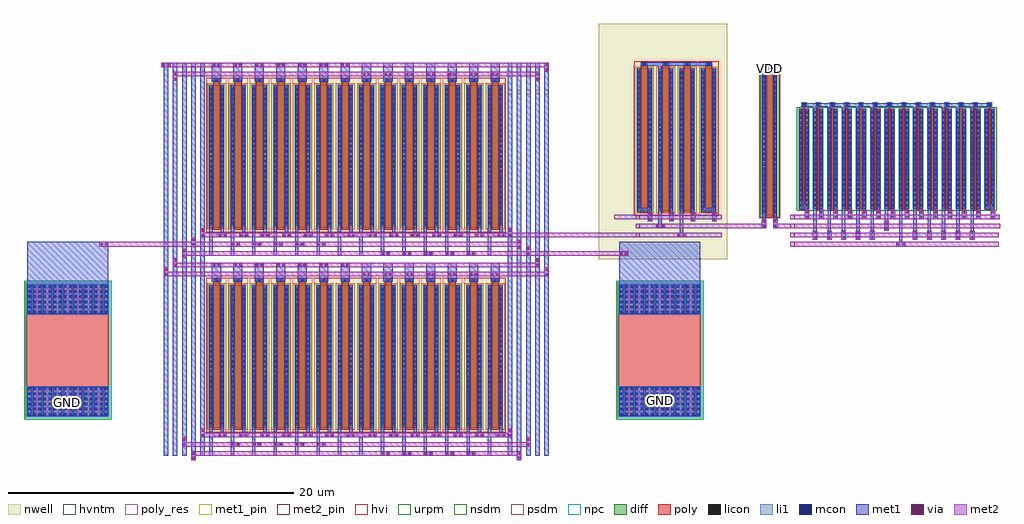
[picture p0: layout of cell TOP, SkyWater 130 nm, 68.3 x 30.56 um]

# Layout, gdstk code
from math import pi, radians
import gdstk
lib = gdstk.Library(unit=1e-6, precision=1e-09)
def R(c, l, rs):  # rectangles x0, y0, x1, y1
    for r in rs: c.add(gdstk.rectangle(r[:2], r[2:], *l))
def A(c, l, x, y, w, h, nx, ny, dx, dy):  # array of equal rectangles
    R(c, l, [(x+i*dx, y+j*dy, x+i*dx+w, y+j*dy+h) for i in range(nx) for j in range(ny)])
nwell = (64, 20)
diff = (65, 20)
poly_res = (66, 13)
poly = (66, 20)
licon = (66, 44)
li1 = (67, 20)
mcon = (67, 44)
met1_pin = (68, 16)
met1 = (68, 20)
via = (68, 44)
met2_pin = (69, 16)
met2 = (69, 20)
hvi = (75, 20)
urpm = (79, 20)
nsdm = (93, 44)
psdm = (94, 20)
npc = (95, 20)
hvntm = (125, 20)

contact = lib.new_cell('contact')
R(contact, met1, [(-0.32,-0.16,0.32,0.16)])
R(contact, via, [(-0.235,-0.075,-0.085,0.075), (0.085,-0.075,0.235,0.075)])
R(contact, met2, [(-0.32,-0.16,0.32,0.16)])

sky130_fd_pr__nfet_01v8_ = lib.new_cell('sky130_fd_pr__nfet_01v8_4TJS7W')
R(sky130_fd_pr__nfet_01v8_, diff, [(-0.365,-3.655,0.365,3.345)])
R(sky130_fd_pr__nfet_01v8_, poly, [(-0.075,-3.785,0.075,3.455), (-0.165,3.455,0.165,3.785)])
A(sky130_fd_pr__nfet_01v8_, licon, -0.305, -3.47, 0.17, 0.17, 1, 20, 0, 0.34)
A(sky130_fd_pr__nfet_01v8_, licon, 0.135, -3.47, 0.17, 0.17, 1, 20, 0, 0.34)
R(sky130_fd_pr__nfet_01v8_, licon, [(-0.085,3.535,0.085,3.705)])
R(sky130_fd_pr__nfet_01v8_, li1, [(-0.305,-3.675,-0.135,3.365), (0.135,-3.675,0.305,3.365), (-0.165,3.535,0.165,3.705)])
A(sky130_fd_pr__nfet_01v8_, mcon, -0.305, -3.48, 0.17, 0.17, 1, 19, 0, 0.36)
A(sky130_fd_pr__nfet_01v8_, mcon, 0.135, -3.48, 0.17, 0.17, 1, 19, 0, 0.36)
R(sky130_fd_pr__nfet_01v8_, mcon, [(-0.085,3.535,0.085,3.705)])
R(sky130_fd_pr__nfet_01v8_, met1, [(0.105,-4.375,0.335,3.345), (-0.335,-3.655,-0.105,3.345), (-0.145,3.505,0.145,3.735)])
R(sky130_fd_pr__nfet_01v8_, nsdm, [(-0.49,-3.78,0.49,3.47)])
R(sky130_fd_pr__nfet_01v8_, npc, [(-0.185,3.435,0.185,3.805)])

mirror = lib.new_cell('mirror')
A(mirror, met1, 1.62, 0.99, 0.23, 1.93, 5, 1, 1, 0)
A(mirror, met1, 8.62, 0.99, 0.23, 1.93, 5, 1, 1, 0)
A(mirror, met1, 1.62, 9.67, 0.23, 0.52, 5, 1, 1, 0)
A(mirror, met1, 8.62, 9.67, 0.23, 0.52, 5, 1, 1, 0)
R(mirror, met1, [(7.62,0.27,7.85,2.99), (6.62,1.44,6.85,2.98), (0.62,2.72,1.29,3.15), (13.62,2.72,14.29,3.15), (0.81,9.96,14.1,10.19)])
A(mirror, met2_pin, 0, 0.16, 0.32, 0.32, 1, 4, 0, 0.64)
R(mirror, met2, [(0,0.16,14.61,0.48), (0,0.8,14.61,1.12), (0,1.44,14.68,1.76), (0,2.08,14.65,2.4)])
r = gdstk.Reference(contact, (14.18,2.4), rotation=pi/2); r.repetition = gdstk.Repetition(1, 14, v1=(0,0), v2=(-1,0)); mirror.add(r)
mirror.add(gdstk.Reference(contact, (7.74,0.32)))
r = gdstk.Reference(contact, (5.74,0.96), rotation=pi/2); r.repetition = gdstk.Repetition(1, 5, v1=(0,0), v2=(-1,0)); mirror.add(r)
mirror.add(gdstk.Reference(contact, (6.74,1.6), rotation=pi/2))
r = gdstk.Reference(contact, (12.74,0.96), rotation=pi/2); r.repetition = gdstk.Repetition(1, 5, v1=(0,0), v2=(-1,0)); mirror.add(r)
r = gdstk.Reference(sky130_fd_pr__nfet_01v8_, (0.955,6.455)); r.repetition = gdstk.Repetition(14, 1, v1=(1,0), v2=(0,0)); mirror.add(r)
mirror.add(gdstk.Label('GND', (0.15,2.24), layer=69, texttype=16))
mirror.add(gdstk.Label('u10', (0.12,0.96), layer=69, texttype=16))
mirror.add(gdstk.Label('u10mdiffp', (0.15,1.6), layer=69, texttype=16))
mirror.add(gdstk.Label('u10mlatch', (0.14,0.33), layer=69, texttype=16))

sky130_fd_pr__pfet_g5v0d = lib.new_cell('sky130_fd_pr__pfet_g5v0d10v5_VU6JZ7')
R(sky130_fd_pr__pfet_g5v0d, nwell, [(-0.72,-5.49,0.72,5.32)])
R(sky130_fd_pr__pfet_g5v0d, diff, [(-0.54,-5.18,0.54,4.82)])
R(sky130_fd_pr__pfet_g5v0d, poly, [(-0.25,-5.31,0.25,5.305)])
A(sky130_fd_pr__pfet_g5v0d, licon, -0.48, -5.025, 0.17, 0.17, 1, 29, 0, 0.34)
A(sky130_fd_pr__pfet_g5v0d, licon, 0.31, -5.025, 0.17, 0.17, 1, 29, 0, 0.34)
R(sky130_fd_pr__pfet_g5v0d, licon, [(-0.085,5.055,0.085,5.225)])
R(sky130_fd_pr__pfet_g5v0d, li1, [(-0.48,-5.2,-0.31,4.84), (0.31,-5.2,0.48,4.84), (-0.25,5.055,0.25,5.225)])
A(sky130_fd_pr__pfet_g5v0d, mcon, -0.48, -4.945, 0.17, 0.17, 1, 27, 0, 0.36)
A(sky130_fd_pr__pfet_g5v0d, mcon, 0.31, -4.945, 0.17, 0.17, 1, 27, 0, 0.36)
R(sky130_fd_pr__pfet_g5v0d, mcon, [(-0.085,5.055,0.085,5.225)])
R(sky130_fd_pr__pfet_g5v0d, met1, [(-0.51,-7.14,-0.28,4.82), (0.28,-5.86,0.51,4.82), (-0.33,5.025,0.31,6.37)])
R(sky130_fd_pr__pfet_g5v0d, hvi, [(-0.72,-5.49,0.72,-5.365), (-0.725,-5.365,0.725,5.005), (-0.72,5.005,0.72,5.32)])
R(sky130_fd_pr__pfet_g5v0d, psdm, [(-0.665,-5.305,0.665,4.945)])
R(sky130_fd_pr__pfet_g5v0d, npc, [(-0.185,4.955,0.185,5.325)])

diffpair = lib.new_cell('diffpair')
A(diffpair, met1_pin, 27.05, 26.54, 0.32, 0.32, 5, 1, 0.64, 0)
A(diffpair, met1, 2.98, 1.23, 0.32, 27.51, 5, 1, 0.64, 0)
A(diffpair, met1, 27.05, 1.23, 0.32, 27.51, 5, 1, 0.64, 0)
R(diffpair, met1, [(6.17,2.51,7.19,2.83), (15.17,2.51,17.69,2.83), (25.67,2.51,26.69,2.83), (6.17,16.51,7.19,16.83), (15.17,16.51,17.69,16.83), (25.67,16.51,26.69,16.83)])
R(diffpair, met2, [(4.9,1.23,28.01,1.55), (4.26,1.87,28.65,2.19), (5.54,2.51,27.37,2.83), (2.98,13.78,29.93,14.1), (3.62,14.42,29.29,14.74), (4.26,15.23,28.65,15.55), (4.9,15.87,28.01,16.19), (5.54,16.51,27.37,16.83), (3.62,27.78,29.29,28.1), (2.98,28.42,29.93,28.74)])
diffpair.add(gdstk.Reference(contact, (27.21,16.83), rotation=pi/2))
diffpair.add(gdstk.Reference(contact, (27.85,16.03), rotation=pi/2))
diffpair.add(gdstk.Reference(contact, (28.49,15.55), rotation=pi/2))
diffpair.add(gdstk.Reference(contact, (5.7,16.83), rotation=pi/2))
diffpair.add(gdstk.Reference(contact, (5.06,16.19), rotation=pi/2))
diffpair.add(gdstk.Reference(contact, (4.42,15.39), rotation=pi/2))
diffpair.add(gdstk.Reference(contact, (27.85,1.23), rotation=pi/2))
diffpair.add(gdstk.Reference(contact, (28.49,2.19), rotation=pi/2))
diffpair.add(gdstk.Reference(contact, (27.21,2.83), rotation=pi/2))
diffpair.add(gdstk.Reference(contact, (5.06,1.23), rotation=pi/2))
diffpair.add(gdstk.Reference(contact, (4.42,2.19), rotation=pi/2))
diffpair.add(gdstk.Reference(contact, (5.7,2.83), rotation=pi/2))
diffpair.add(gdstk.Reference(contact, (29.77,14.1), rotation=pi/2))
diffpair.add(gdstk.Reference(contact, (29.13,14.74), rotation=pi/2))
diffpair.add(gdstk.Reference(contact, (3.78,14.74), rotation=pi/2))
diffpair.add(gdstk.Reference(contact, (3.14,14.1), rotation=pi/2))
diffpair.add(gdstk.Reference(contact, (29.13,27.78), rotation=pi/2))
diffpair.add(gdstk.Reference(contact, (29.77,28.42), rotation=pi/2))
diffpair.add(gdstk.Reference(contact, (3.78,27.78), rotation=pi/2))
r = gdstk.Reference(contact, (6.67,28.58)); r.repetition = gdstk.Repetition(7, 1, v1=(1.5,0), v2=(0,0)); diffpair.add(r)
diffpair.add(gdstk.Reference(contact, (3.14,28.58), rotation=pi))
r = gdstk.Reference(contact, (18.49,15.39)); r.repetition = gdstk.Repetition(5, 1, v1=(1.5,0), v2=(0,0)); diffpair.add(r)
r = gdstk.Reference(contact, (18.49,1.39)); r.repetition = gdstk.Repetition(5, 1, v1=(1.5,0), v2=(0,0)); diffpair.add(r)
r = gdstk.Reference(contact, (7.99,2.03)); r.repetition = gdstk.Repetition(5, 1, v1=(1.5,0), v2=(0,0)); diffpair.add(r)
r = gdstk.Reference(contact, (7.07,2.67)); r.repetition = gdstk.Repetition(14, 1, v1=(1.5,0), v2=(0,0)); diffpair.add(r)
r = gdstk.Reference(contact, (7.08,16.67)); r.repetition = gdstk.Repetition(14, 1, v1=(1.5,0), v2=(0,0)); diffpair.add(r)
r = gdstk.Reference(contact, (7.99,16.03)); r.repetition = gdstk.Repetition(5, 1, v1=(1.5,0), v2=(0,0)); diffpair.add(r)
r = gdstk.Reference(contact, (17.17,27.94)); r.repetition = gdstk.Repetition(7, 1, v1=(1.5,0), v2=(0,0)); diffpair.add(r)
r = gdstk.Reference(contact, (6.67,14.58)); r.repetition = gdstk.Repetition(7, 1, v1=(1.5,0), v2=(0,0)); diffpair.add(r)
r = gdstk.Reference(contact, (17.17,13.94)); r.repetition = gdstk.Repetition(7, 1, v1=(1.5,0), v2=(0,0)); diffpair.add(r)
r = gdstk.Reference(sky130_fd_pr__pfet_g5v0d, (6.68,8.37)); r.repetition = gdstk.Repetition(14, 2, v1=(1.5,0), v2=(0,14)); diffpair.add(r)
diffpair.add(gdstk.Label('VDD_IO', (31.49,30.29), layer=64, texttype=5))
diffpair.add(gdstk.Label('cm', (27.22,26.71), layer=68, texttype=16))
diffpair.add(gdstk.Label('bufneg', (27.81,26.69), layer=68, texttype=16))
diffpair.add(gdstk.Label('bufpos', (28.5,26.7), layer=68, texttype=16))
diffpair.add(gdstk.Label('v+', (29.13,26.68), layer=68, texttype=16))
diffpair.add(gdstk.Label('v-', (29.77,26.71), layer=68, texttype=16))

c_sky130_fd_pr__pfet_g5v0d = lib.new_cell('sky130_fd_pr__pfet_g5v0d10v5_VU6JZ7$1')
R(c_sky130_fd_pr__pfet_g5v0d, nwell, [(-0.72,-5.49,0.72,5.32)])
R(c_sky130_fd_pr__pfet_g5v0d, diff, [(-0.54,-5.18,0.54,4.82)])
R(c_sky130_fd_pr__pfet_g5v0d, poly, [(-0.25,-5.31,0.25,5.305)])
A(c_sky130_fd_pr__pfet_g5v0d, licon, -0.48, -5.025, 0.17, 0.17, 1, 29, 0, 0.34)
A(c_sky130_fd_pr__pfet_g5v0d, licon, 0.31, -5.025, 0.17, 0.17, 1, 29, 0, 0.34)
R(c_sky130_fd_pr__pfet_g5v0d, licon, [(-0.085,5.055,0.085,5.225)])
R(c_sky130_fd_pr__pfet_g5v0d, li1, [(-0.48,-5.2,-0.31,4.84), (0.31,-5.2,0.48,4.84), (-0.25,5.055,0.25,5.225)])
A(c_sky130_fd_pr__pfet_g5v0d, mcon, -0.48, -4.945, 0.17, 0.17, 1, 27, 0, 0.36)
A(c_sky130_fd_pr__pfet_g5v0d, mcon, 0.31, -4.945, 0.17, 0.17, 1, 27, 0, 0.36)
R(c_sky130_fd_pr__pfet_g5v0d, mcon, [(-0.085,5.055,0.085,5.225)])
R(c_sky130_fd_pr__pfet_g5v0d, met1, [(0.28,-5.66,0.51,4.82), (-0.51,-5.18,-0.28,4.82), (-0.23,5.02,0.23,5.26)])
R(c_sky130_fd_pr__pfet_g5v0d, hvi, [(-0.72,-5.49,0.72,-5.365), (-0.725,-5.365,0.725,5.005), (-0.72,5.005,0.72,5.32)])
R(c_sky130_fd_pr__pfet_g5v0d, psdm, [(-0.665,-5.305,0.665,4.945)])
R(c_sky130_fd_pr__pfet_g5v0d, npc, [(-0.185,4.955,0.185,5.325)])

pmirror = lib.new_cell('pmirror')
R(pmirror, nwell, [(-2.48,-1.35,6.52,15.12)])
R(pmirror, met1, [(3.215,0.47,3.445,2.22), (1.715,1,1.945,2.15), (0.215,1.92,1.235,2.22), (4.715,1.92,5.735,2.22), (1.715,11.78,1.945,12.37), (0.495,12.19,5.455,12.43)])
A(pmirror, met2_pin, 0.12, 0.16, 0.28, 0.32, 1, 3, 0, 0.64)
R(pmirror, met2, [(0.115,0.16,6.135,0.48), (0.115,0.8,6.135,1.12), (-1.395,1.44,6.135,1.76)])
r = gdstk.Reference(contact, (5.625,1.6), rotation=pi/2); r.repetition = gdstk.Repetition(1, 4, v1=(0,0), v2=(-1.5,0)); pmirror.add(r)
pmirror.add(gdstk.Reference(contact, (1.835,0.96)))
pmirror.add(gdstk.Reference(contact, (3.335,0.32)))
r = gdstk.Reference(c_sky130_fd_pr__pfet_g5v0d, (0.725,7.17)); r.repetition = gdstk.Repetition(4, 1, v1=(1.5,0), v2=(0,0)); pmirror.add(r)
pmirror.add(gdstk.Label('VDD_IO', (-1.93,12.56), layer=64, texttype=5))
pmirror.add(gdstk.Label('VDD_IO', (0.24,1.59), layer=69, texttype=16))
pmirror.add(gdstk.Label('u10_cascoded', (0.25,0.98), layer=69, texttype=16))
pmirror.add(gdstk.Label('u10_tail', (0.27,0.31), layer=69, texttype=16))

sky130_fd_pr__nfet_g5v0d = lib.new_cell('sky130_fd_pr__nfet_g5v0d10v5_TAU43L')
R(sky130_fd_pr__nfet_g5v0d, diff, [(-0.54,-5.155,0.54,4.845)])
R(sky130_fd_pr__nfet_g5v0d, poly, [(-0.25,-5.285,0.25,5.285)])
A(sky130_fd_pr__nfet_g5v0d, licon, -0.48, -5, 0.17, 0.17, 1, 29, 0, 0.34)
A(sky130_fd_pr__nfet_g5v0d, licon, 0.31, -5, 0.17, 0.17, 1, 29, 0, 0.34)
R(sky130_fd_pr__nfet_g5v0d, licon, [(-0.085,5.035,0.085,5.205)])
R(sky130_fd_pr__nfet_g5v0d, li1, [(-0.48,-5.175,-0.31,4.865), (0.31,-5.175,0.48,4.865), (-0.25,5.035,0.25,5.205)])
A(sky130_fd_pr__nfet_g5v0d, mcon, -0.48, -4.92, 0.17, 0.17, 1, 27, 0, 0.36)
A(sky130_fd_pr__nfet_g5v0d, mcon, 0.31, -4.92, 0.17, 0.17, 1, 27, 0, 0.36)
R(sky130_fd_pr__nfet_g5v0d, mcon, [(-0.085,5.035,0.085,5.205)])
R(sky130_fd_pr__nfet_g5v0d, met1, [(-0.51,-5.155,-0.28,4.845), (0.28,-5.155,0.51,4.845), (-0.23,5.005,0.23,5.235)])
R(sky130_fd_pr__nfet_g5v0d, hvi, [(-0.725,-5.34,0.725,5.03)])
R(sky130_fd_pr__nfet_g5v0d, nsdm, [(-0.665,-5.28,0.665,4.97)])
R(sky130_fd_pr__nfet_g5v0d, npc, [(-0.185,4.935,0.185,5.305)])
R(sky130_fd_pr__nfet_g5v0d, hvntm, [(-0.725,-5.34,0.725,5.03)])

sky130_fd_pr__res_xhigh_ = lib.new_cell('sky130_fd_pr__res_xhigh_po_5p73_HJVXZH')
R(sky130_fd_pr__res_xhigh_, poly_res, [(-2.865,-2.56,2.865,2.56)])
R(sky130_fd_pr__res_xhigh_, poly, [(-2.865,-4.66,2.865,4.66)])
A(sky130_fd_pr__res_xhigh_, licon, -2.58, -4.58, 0.19, 2, 8, 2, 0.71, 7.16)
R(sky130_fd_pr__res_xhigh_, li1, [(-2.865,-4.66,2.865,-2.5), (-2.865,2.5,2.865,4.66)])
A(sky130_fd_pr__res_xhigh_, mcon, -2.785, -4.565, 0.17, 0.17, 16, 6, 0.36, 0.36)
A(sky130_fd_pr__res_xhigh_, mcon, -2.785, 2.59, 0.17, 0.17, 16, 6, 0.36, 0.36)
R(sky130_fd_pr__res_xhigh_, met1, [(-2.845,-4.6,2.845,-2.555), (-2.845,2.555,2.845,7.58)])
R(sky130_fd_pr__res_xhigh_, urpm, [(-3.065,-4.86,3.065,4.86)])
R(sky130_fd_pr__res_xhigh_, psdm, [(-2.975,-4.77,2.975,4.77)])
R(sky130_fd_pr__res_xhigh_, npc, [(-2.96,-4.755,2.96,4.755)])

top = lib.new_cell('TOP')
R(top, met1_pin, [(-17.15,-10.52,-11.46,-8.48), (24.28,-10.52,29.97,-8.48), (34.58,13.68,35.04,13.91)])
R(top, met1, [(34.3,2.89,34.53,3.65), (35.09,2.89,35.32,3.65)])
R(top, met2, [(17.76,0.7,24.92,1.02), (-12.1,1.34,-5.35,1.66), (16.48,1.98,27.95,2.3), (31.1,2.62,34.58,2.94), (35.05,2.62,38.5,2.94)])
top.add(gdstk.Reference(mirror, (36.25,1.18)))
top.add(gdstk.Reference(diffpair, (-10.57,-14.53)))
top.add(gdstk.Reference(pmirror, (25.315,1.82)))
top.add(gdstk.Reference(contact, (34.42,2.94), rotation=pi/2))
top.add(gdstk.Reference(contact, (35.21,2.94), rotation=pi/2))
top.add(gdstk.Reference(contact, (24.6,0.86), rotation=pi))
top.add(gdstk.Reference(contact, (-11.78,1.5), rotation=pi))
top.add(gdstk.Reference(sky130_fd_pr__nfet_g5v0d, (34.81,8.675)))
top.add(gdstk.Reference(sky130_fd_pr__res_xhigh_, (-14.305,-5.92)))
top.add(gdstk.Reference(sky130_fd_pr__res_xhigh_, (27.125,-5.92)))
top.add(gdstk.Label('VDD', (34.82,13.81), layer=68, texttype=16))
top.add(gdstk.Label('GND', (-14.3,-9.54), layer=68, texttype=16))
top.add(gdstk.Label('GND', (27.14,-9.46), layer=68, texttype=16))

lib.write_gds('TOP.gds')
